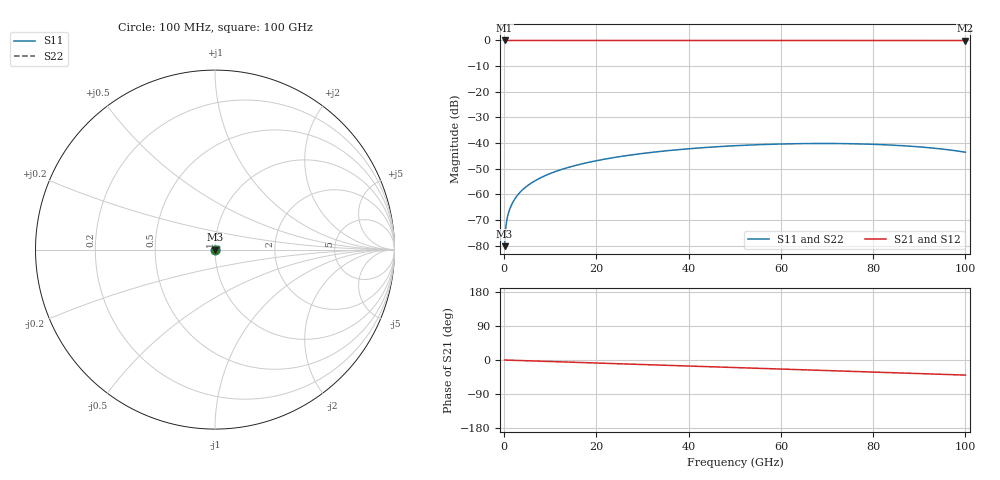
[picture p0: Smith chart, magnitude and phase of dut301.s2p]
! Touchstone file exported from HFSS 2026.1.0
!  File:  C:/ffzhzh/LocalFiles/Ansys_Project_Files/temp_train_TSV_301_1783509157_55944.aedt
!  Generated:  07:13:49 PM Jul  8, 2026
!  Design:  TSV
!  Project:  temp_train_TSV_301_1783509157_55944
! Variables:
!  h_bsmrdl = 2um
!  h_ox = 20um
!  h_rdl = 5um
!  h_sub = 76.49um
!  h_tmrdl = 5um
!  h_tsv = 76.49um
!  h_via = 3um
!  l_bsmrdl = 300um
!  l_sub = 427.5um
!  l_tmrdl = 200um
!  m_sub = 200um
!  pitch = 56.51um
!  r_tsv = 13.75um
!  s_tmrdl = 10um
!  w_bsmrdl = 18um
!  w_sub = 500um
!  w_tmrdl = 12um
!  x_tsv_center1 = 206um
!  x_tsv_center2 = 524um
!  x_tsv_center3 = 736um
!  x_tsv_center4 = 1054um
!  x_tsv_center5 = 1266um
!  x_tsv_center6 = 1584um
# GHz S MA R 50.000000
! Terminal data exported
! Port[1] = TSV1_1_T1
! Port[2] = TSV1_1_T2
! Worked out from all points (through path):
!   1000 points, 100 MHz to 100 GHz, reference 50 ohm
!   highest |S21| = 0.00 dB at 100 MHz (marker M1); lowest = 0.0 dB at 100 GHz (marker M2)
!   group delay of S21, straight-line fit = 1.1 ps
!   lowest |S11| = -80.2 dB at 100 MHz (marker M3), VSWR 1.00, Z = 50 + j0.00609 ohm
!   |S11| at or under -10 dB: start of sweep to end of sweep
!   |S22| runs from -80.2 to -40.2 dB; largest |S21 - S12| = 3.9e-15
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0.1  9.781e-05 38.5  0.9999 -0.0  0.9999 -0.0  9.781e-05 38.5
! Gamma 0 0 0 0
! Port Impedance 50 0 50 0
0.3  0.0001992 56.7  0.9999 -0.1  0.9999 -0.1  0.0001992 56.7
0.8  0.0003919 59.7  0.9998 -0.3  0.9998 -0.3  0.0003919 59.7
1  0.0004525 60.6  0.9998 -0.4  0.9998 -0.4  0.0004525 60.6
1.3  0.0005385 62.1  0.9998 -0.5  0.9998 -0.5  0.0005385 62.1
1.8  0.0006768 64.0  0.9997 -0.7  0.9997 -0.7  0.0006768 64.0
2.4  0.0008364 65.6  0.9997 -1.0  0.9997 -1.0  0.0008364 65.6
3.1  0.001014 66.7  0.9996 -1.2  0.9996 -1.2  0.001014 66.7
3.9  0.001207 67.7  0.9996 -1.6  0.9996 -1.6  0.001207 67.7
6.1  0.00171 69.3  0.9995 -2.4  0.9995 -2.4  0.00171 69.3
9  0.002342 70.3  0.9993 -3.6  0.9993 -3.6  0.002342 70.2
12.5  0.003068 70.4  0.9992 -5.0  0.9992 -5.0  0.003068 70.4
16.8  0.00392 70.1  0.9991 -6.7  0.9991 -6.7  0.00392 70.1
24.3  0.005308 68.7  0.9989 -9.6  0.9989 -9.6  0.00531 68.6
33.4  0.006807 66.2  0.9987 -13.2  0.9987 -13.2  0.006809 66.1
41.4  0.007924 63.6  0.9985 -16.4  0.9985 -16.4  0.007927 63.5
50.1  0.008884 60.5  0.9984 -19.9  0.9984 -19.9  0.008888 60.3
66.7  0.009799 53.9  0.9981 -26.5  0.9981 -26.5  0.009807 53.6
75.3  0.009701 50.1  0.9979 -29.9  0.9979 -29.9  0.009711 49.7
83.4  0.009187 46.2  0.9978 -33.1  0.9978 -33.1  0.0092 45.7
92.2  0.008104 41.4  0.9976 -36.7  0.9976 -36.7  0.008122 40.8
100  0.006636 36.2  0.9974 -39.8  0.9974 -39.8  0.00666 35.4
